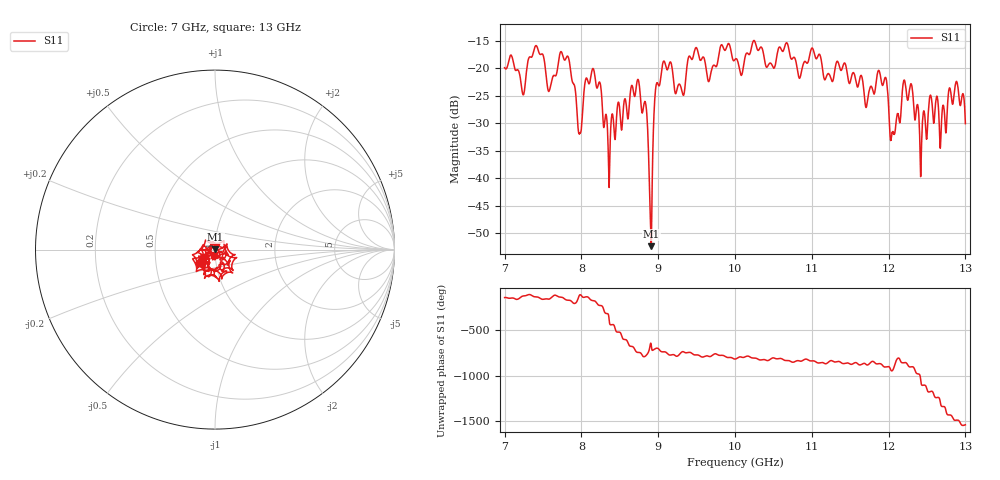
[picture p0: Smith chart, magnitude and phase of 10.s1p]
[Version] 2.0
! Rohde & Schwarz Vector Network Analyzer
! Rohde-Schwarz,ZNL20-2Port,1323001220200009,1.71.1.10-23.02.1.238
! Trace info:
! Nominal Param -> Actual Exported Buffer
! S11 -> S22
! Created: GMT+3 2024-09-24 16:38:34
# Hz S DB R 50
[Number of Ports] 1
! freq[Hz]  S11[mag dB]  S11[ang]
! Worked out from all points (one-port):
!   6001 points, 7 GHz to 13 GHz, reference 50 ohm
!   lowest |S11| = -52.4 dB at 8.91 GHz (marker M1), VSWR 1.00, Z = 50.1 + j0.198 ohm
!   |S11| at or under -10 dB: start of sweep to end of sweep
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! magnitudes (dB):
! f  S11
! 7 GHz  -19.9
! 7.244 GHz  -24.8
! 7.413 GHz  -15.9
! 7.581 GHz  -24.1
! 7.75 GHz  -17.3
! 7.977 GHz  -31.9
! 8.148 GHz  -20.1
! 8.355 GHz  -39.2
! 8.5 GHz  -27.6
! 8.742 GHz  -22.2
! 8.84 GHz  -26.7
! 8.91 GHz  -52.4
! 8.982 GHz  -22.7
! 9.078 GHz  -18.7
! 9.25 GHz  -23.6
! 9.49 GHz  -16.3
! 9.658 GHz  -22.4
! 10 GHz  -18.4
! 10.75 GHz  -18.2
! 11.5 GHz  -22.5
! 11.96 GHz  -21.7
! 12.05 GHz  -31.7
! 12.25 GHz  -25.8
! 12.42 GHz  -38.7
! 12.54 GHz  -24.9
! 12.68 GHz  -32.8
! 12.88 GHz  -22.4
! 13 GHz  -30.1
